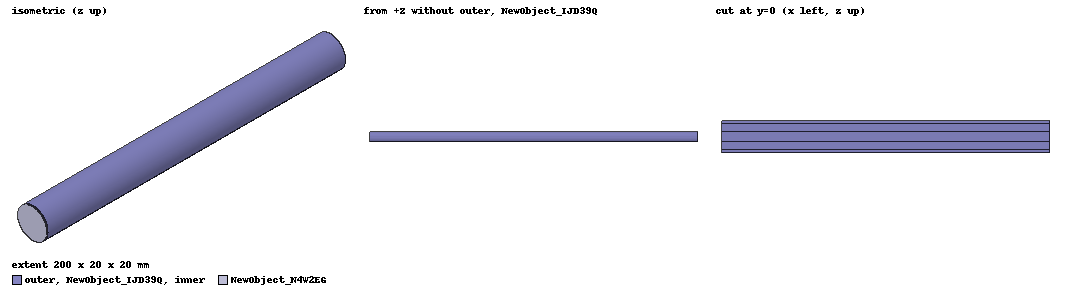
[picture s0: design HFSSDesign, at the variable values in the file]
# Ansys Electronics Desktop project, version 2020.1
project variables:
  $height = 10mm
  $dim = 5mm
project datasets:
  $my_materialconductivityTH0: (22, 1) (80, 0.8)
  $AluminumpermittivityTH0: (22, 1) (200, 0.6) (400, 0.39)
  $AluminumconductivityTH0: (22, 1) (200, 0.6) (400, 0.39)
  $AluminumconductivityFM0: (1000000000, 38000000) (2000000000, 38000000) (3000000000, 38000000)
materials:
  Al2_O3_ceramic: permittivity=9.8
  Aluminum: thermal_modifier{Property=permittivity free_form_value=pwl($AluminumpermittivityTH0,Temp)} thermal_modifier{Property=conductivity free_form_value=pwl($AluminumconductivityTH0,Temp)} permittivity{anisotropic component1=1 component2=1 component3=1} permeability=1.000021 conductivity=pwl($AluminumconductivityFM0,Freq)
  copper: permeability=0.999991 conductivity=58000000
  gold: permeability=0.99996 conductivity=41000000
  my_material: thermal_modifier{Property=conductivity free_form_value=pwl($my_materialconductivityTH0,Temp)} permittivity=1 permeability=1 conductivity=650000000
  teflon_based: permittivity=2.08 dielectric_loss_tangent=0.001
  vacuum: permittivity=1

design HFSSDesign (HFSS, DrivenModal, model units mm)
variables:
  height = 5mm
  dim = 5mm
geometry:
  inner [Aluminum] = cylinder(axis=X, base_centre=(0mm, 0mm, 0mm), radius=3mm, height=200mm)
  NewObject_IJD39Q [teflon_based] = cylinder(axis=X, base_centre=(0mm, 0mm, 0mm), radius=8mm, height=200mm)
  outer [Aluminum] = cylinder(axis=X, base_centre=(0mm, 0mm, 0mm), radius=10mm, height=200mm)
  NewObject_IJD39Q_1 = NewObject_IJD39Q.copy()
  outer.subtract(NewObject_IJD39Q_1)
  inner_1 = inner.copy()
  NewObject_IJD39Q.subtract(inner_1)
  NewObject_IJD39Q_2 = NewObject_IJD39Q.copy()
  outer.subtract(NewObject_IJD39Q_2)
  NewObject_V7O4LE = circle(normal=X, centre=(0mm, 0mm, 0mm), radius=10mm)
  NewObject_N4W2EG = circle(normal=X, centre=(200mm, 0mm, 0mm), radius=10mm)
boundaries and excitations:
  1: Wave Port Faces=NewObject_IJD39Q.face(2 of 3) NumModes=1 Modes{Mode1{CharImp=Zpi}}
  2: Wave Port Faces=NewObject_IJD39Q.face(3 of 3) NumModes=1 Modes{Mode1{CharImp=Zpi}}
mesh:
  ModelResolution1: DefeatureBased Objects=[inner, outer] auto length
  Length2: LengthBased Faces=NewObject_IJD39Q.face(all 4) NumMaxElem=2000 MaxLength=1mm
  initial mesh: GlobalSurfApproximation{CurvedSurfaceApproxChoice=UseSlider SliderMeshSettings=6}
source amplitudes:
  1:1: 1W 0deg
  2:1: 0W 0deg

design Circuit1 (Circuit)
options: SParamCircuitDef IntegrationMethod=FFT
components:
  C3 = CAP_()
  R4 = RES_()
  port Port1 rz=50ohm iz=0ohm EnableNoise=false noisetemp=16.85cel
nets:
  0: R4.1, C3.1
  Port1: R4.0, C3.0
